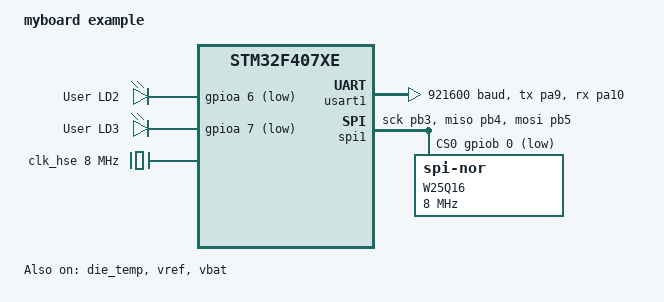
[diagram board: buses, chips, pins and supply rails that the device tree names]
/*
 * Copyright (c) 2017 Linaro Limited
 *
 * SPDX-License-Identifier: Apache-2.0
 */

/dts-v1/;
#include <st/f4/stm32f407Xe.dtsi>
#include <st/f4/stm32f407v(e-g)tx-pinctrl.dtsi>
#include <zephyr/dt-bindings/input/input-event-codes.h>

/ {
	model = "myboard example";
	compatible = "st,myboard";

	chosen {
		zephyr,console = &usart1;
		zephyr,shell-uart = &usart1;
		zephyr,sram = &sram0;
		zephyr,flash = &flash0;
		zephyr,dtcm = &ccm0;
	};

	leds {
		compatible = "gpio-leds";

		user_led_1: led_1 {
			gpios = <&gpioa 6 GPIO_ACTIVE_LOW>;
			label = "User LD2";
		};

		user_led_2: led_2 {
			gpios = <&gpioa 7 GPIO_ACTIVE_LOW>;
			label = "User LD3";
		};
	};

	aliases {
		led0 = &user_led_1;
		led1 = &user_led_2;
		die-temp0 = &die_temp;
		volt-sensor0 = &vref;
		volt-sensor1 = &vbat;
	};
};

&clk_lsi {
	status = "okay";
};

&clk_hse {
	clock-frequency = <DT_FREQ_M(8)>;
	status = "okay";
};

&pll {
	div-m = <8>;
	mul-n = <336>;
	div-p = <2>;
	div-q = <7>;
	clocks = <&clk_hse>;
	status = "okay";
};

&rcc {
	clocks = <&pll>;
	clock-frequency = <DT_FREQ_M(168)>;
	ahb-prescaler = <1>;
	apb1-prescaler = <4>;
	apb2-prescaler = <2>;
};

&usart1 {
	pinctrl-0 = <&usart1_tx_pa9 &usart1_rx_pa10>;
	pinctrl-names = "default";
	current-speed = <921600>;
	status = "okay";
};

&die_temp {
	status = "okay";
};

&vref {
	status = "okay";
};

&vbat {
	status = "okay";
};

&dma1 {
	status = "okay";
};

// modules/hal/stm32/dts/st/f4/stm32f407v(e-g)tx-pinctrl.dtsi
&spi1 {
	pinctrl-0 = <&spi1_sck_pb3 &spi1_miso_pb4 &spi1_mosi_pb5>;
	cs-gpios = <&gpiob 0 GPIO_ACTIVE_LOW>;
	pinctrl-names = "default";
	status = "okay";

    w25q16: flash@0 {
        compatible = "jedec,spi-nor";
        reg = <0>;
        spi-max-frequency = <8000000>;
        label = "W25Q16";
        size = <0x200000>;   /* 2 MB */
		status = "okay";
    };
};
